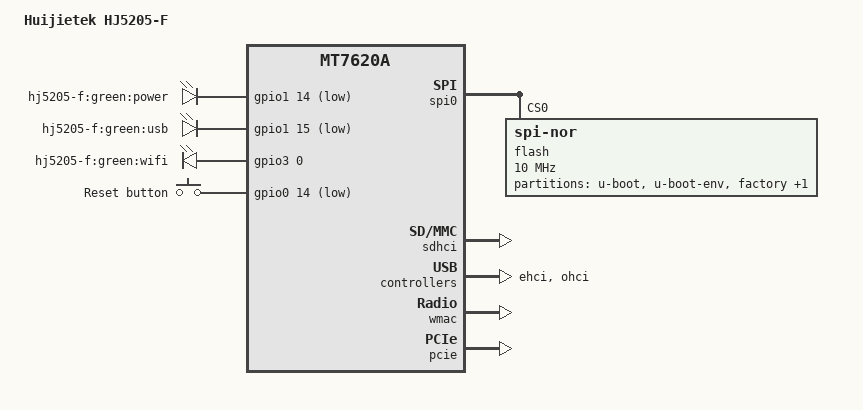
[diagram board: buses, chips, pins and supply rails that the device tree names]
/dts-v1/;

#include "mt7620a.dtsi"

#include <dt-bindings/gpio/gpio.h>
#include <dt-bindings/input/input.h>

/ {
	compatible = "huijietek,hj5205-f", "mediatek,mt7620a";
	model = "Huijietek HJ5205-F";

	chosen {
		bootargs = "console=ttyS0,57600";
	};

	leds {
		compatible = "gpio-leds";
		power {
			label = "hj5205-f:green:power";
			gpios = <&gpio1 14 GPIO_ACTIVE_LOW>;
		};
		usb {
			label = "hj5205-f:green:usb";
			gpios = <&gpio1 15 GPIO_ACTIVE_LOW>;
		};
		air {
			label = "hj5205-f:green:wifi";
			gpios = <&gpio3 0 GPIO_ACTIVE_HIGH>; /* 注意：原为 <&gpio3 0 1> 表示 active high */
		};
	};

	keys {
		compatible = "gpio-keys-polled";
		poll-interval = <20>;

		reset {
			label = "Reset button";
			linux,code = <KEY_RESTART>;
			gpios = <&gpio0 14 GPIO_ACTIVE_LOW>;
		};
	};
};

&gpio0 {
	status = "okay";
};

&gpio1 {
	status = "okay";
};

&gpio3 {
	status = "okay";
};

&spi0 {
	status = "okay";

	flash@0 {
		#address-cells = <1>;
		#size-cells = <1>;
		compatible = "jedec,spi-nor";
		reg = <0>;
		spi-max-frequency = <10000000>;

		partitions {
			compatible = "fixed-partitions";
			#address-cells = <1>;
			#size-cells = <1>;

			partition@0 {
				label = "u-boot";
				reg = <0x0 0x30000>;
				read-only;
			};

			partition@30000 {
				label = "u-boot-env";
				reg = <0x30000 0x10000>;
				read-only;
			};

			factory: partition@40000 {
				label = "factory";
				reg = <0x40000 0x10000>;
				read-only;
			};

			firmware: partition@50000 {
				label = "firmware";
				reg = <0x50000 0xfb0000>;
			};
		};
	};
};

&sdhci {
	status = "okay";
};

&ehci {
	status = "okay";
};

&ohci {
	status = "okay";
};

&ethernet {
	mtd-mac-address = <&factory 0x4>;
	mediatek,port-map = "wllll";
};

&wmac {
	mediatek,mtd-eeprom = <&factory 0>;
};

&pinctrl {
	state_default: pinctrl0 {
		gpio {
			ralink,group = "i2c", "uartf", "wled", "spiclk", "pa";
			ralink,function = "gpio";
		};
	};
};

&pcie {
	status = "okay";
};
